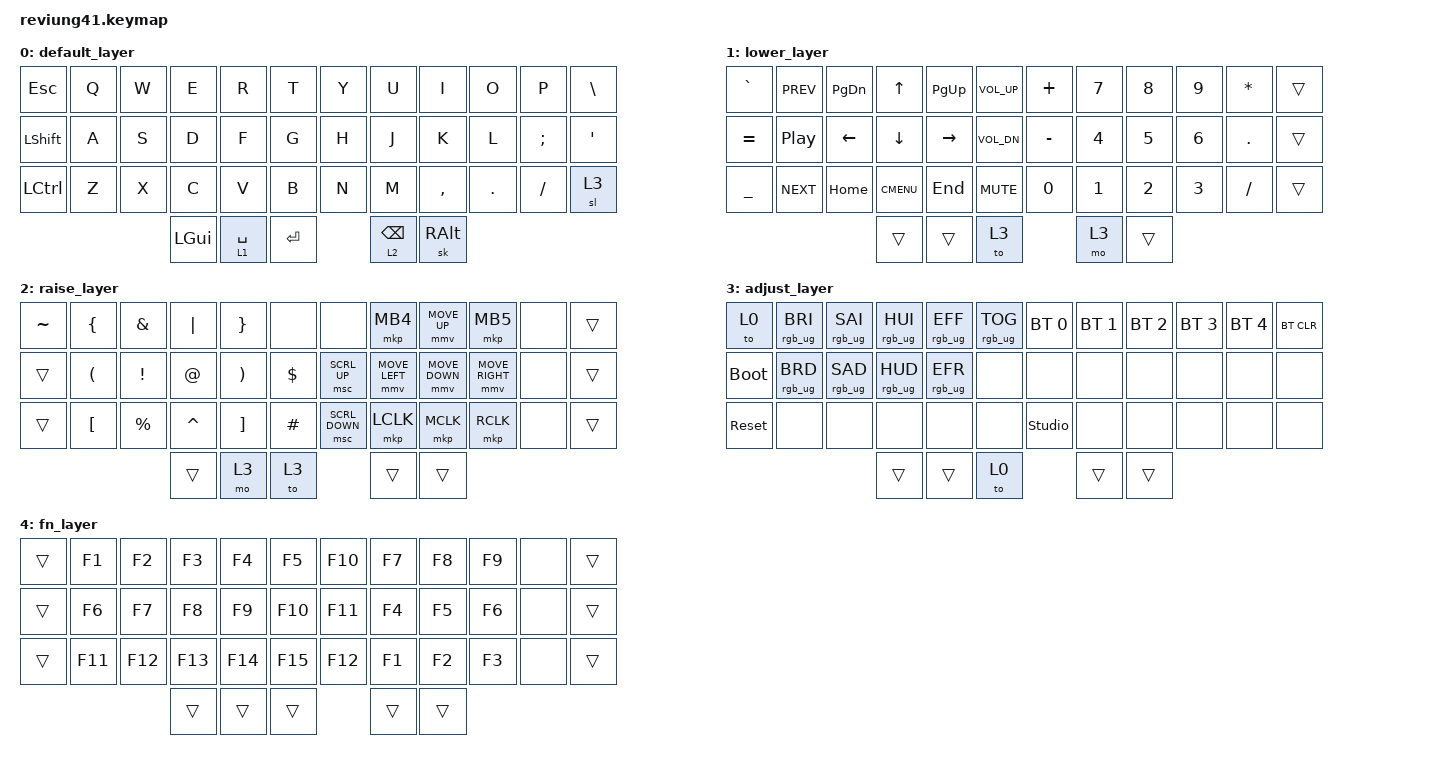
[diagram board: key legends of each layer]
/*
 * Copyright (c) 2020 The ZMK Contributors
 *
 * SPDX-License-Identifier: MIT
 */
// #define ZMK_POINTING_DEFAULT_MOVE_VAL 1500  // default: 600
// #define ZMK_POINTING_DEFAULT_SCRL_VAL 20    // default: 10

#include <behaviors.dtsi>
#include <dt-bindings/zmk/bt.h>
#include <dt-bindings/zmk/keys.h>
#include <dt-bindings/zmk/pointing.h>
#include <dt-bindings/zmk/rgb.h>

/ {
    keymap {
        compatible = "zmk,keymap";

        default_layer {
            // -------------------------------------------------------------------------------------
            // |  TAB |  Q  |  W  |  E  |  R  |  T  |   |  Y  |  U   |  I  |  O  |  P  |   BSPC    |
            // | CTRL |  A  |  S  |  D  |  F  |  G  |   |  H  |  J   |  K  |  L  |  ;  |    '      |
            // | SHFT |  Z  |  X  |  C  |  V  |  B  |   |  N  |  M   |  ,  |  .  |  /  | SHFT(RET) |
            //                         | ALT | LWR | SPC | RSE  | ALT |                            |
            // ------------------------------------------------------------------------------------|

            bindings = <
&kp ESC    &kp Q  &kp W  &kp E     &kp R        &kp T           &kp Y  &kp U       &kp I      &kp O    &kp P     &kp BSLH
&kp LSHFT  &kp A  &kp S  &kp D     &kp F        &kp G           &kp H  &kp J       &kp K      &kp L    &kp SEMI  &kp SQT
&kp LCTRL  &kp Z  &kp X  &kp C     &kp V        &kp B           &kp N  &kp M       &kp COMMA  &kp DOT  &kp FSLH  &sl 3
                         &kp LGUI  &lt 1 SPACE         &kp RET         &lt 2 BSPC  &sk RALT
            >;
        };

        lower_layer {
            bindings = <
&kp GRAVE  &kp C_PREV  &kp PAGE_DOWN  &kp UP       &kp PAGE_UP  &kp C_VOL_UP         &kp PLUS   &kp N7  &kp N8  &kp N9  &kp ASTRK  &trans
&kp EQUAL  &kp C_PP    &kp LEFT       &kp DOWN     &kp RIGHT    &kp C_VOL_DN         &kp MINUS  &kp N4  &kp N5  &kp N6  &kp DOT    &trans
&kp UNDER  &kp C_NEXT  &kp HOME       &kp K_CMENU  &kp END      &kp C_MUTE           &kp N0     &kp N1  &kp N2  &kp N3  &kp FSLH   &trans
                                      &trans       &trans                     &to 3             &mo 3   &trans
            >;
        };

        raise_layer {
            bindings = <
&kp TILDE  &kp LBRC  &kp AMPS   &kp PIPE   &kp RBRC  &none            &none           &mkp MB4        &mmv MOVE_UP    &mkp MB5         &none  &trans
&trans     &kp LPAR  &kp EXCL   &kp AT     &kp RPAR  &kp DLLR         &msc SCRL_UP    &mmv MOVE_LEFT  &mmv MOVE_DOWN  &mmv MOVE_RIGHT  &none  &trans
&trans     &kp LBKT  &kp PRCNT  &kp CARET  &kp RBKT  &kp HASH         &msc SCRL_DOWN  &mkp LCLK       &mkp MCLK       &mkp RCLK        &none  &trans
                                &trans     &mo 3               &to 3                  &trans          &trans
            >;
        };

        adjust_layer {
            bindings = <
&to 0          &rgb_ug RGB_BRI  &rgb_ug RGB_SAI  &rgb_ug RGB_HUI  &rgb_ug RGB_EFF  &rgb_ug RGB_TOG         &bt BT_SEL 0     &bt BT_SEL 1  &bt BT_SEL 2  &bt BT_SEL 3  &bt BT_SEL 4  &bt BT_CLR
&bootloader    &rgb_ug RGB_BRD  &rgb_ug RGB_SAD  &rgb_ug RGB_HUD  &rgb_ug RGB_EFR  &none                   &none            &none         &none         &none         &none         &none
&sys_reset     &none            &none            &none            &none            &none                   &studio_unlock   &none         &none         &none         &none         &none
                                         &trans           &trans                            &to 0                &trans        &trans
            >;
        };

        fn_layer {
            bindings = <
&trans  &kp F1   &kp F2   &kp F3   &kp F4   &kp F5           &kp F10  &kp F7  &kp F8  &kp F9  &none  &trans
&trans  &kp F6   &kp F7   &kp F8   &kp F9   &kp F10          &kp F11  &kp F4  &kp F5  &kp F6  &none  &trans
&trans  &kp F11  &kp F12  &kp F13  &kp F14  &kp F15          &kp F12  &kp F1  &kp F2  &kp F3  &none  &trans
                          &trans   &trans            &trans           &trans  &trans
            >;
        };
    };
};
